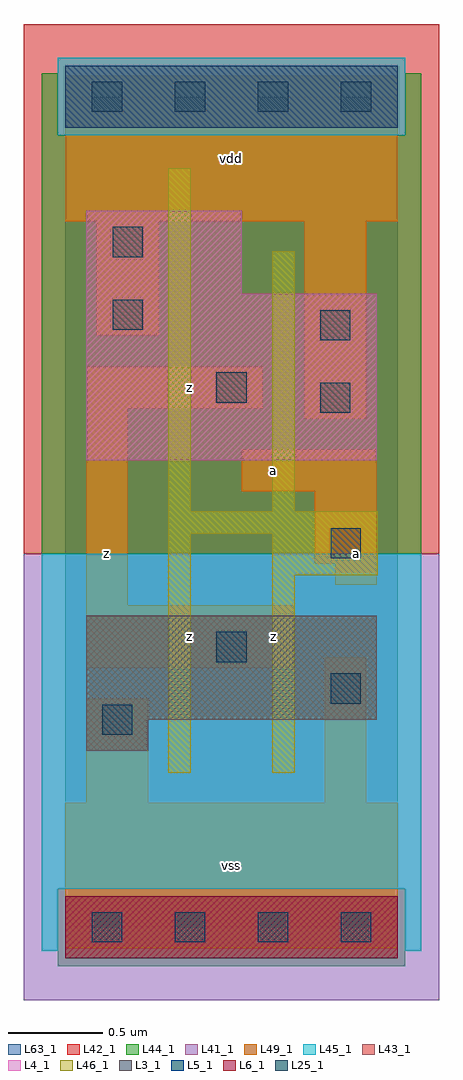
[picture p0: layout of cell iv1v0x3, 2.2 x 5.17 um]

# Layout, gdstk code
import gdstk
lib = gdstk.Library(unit=1e-6, precision=1e-09)
def R(c, l, rs):  # rectangles x0, y0, x1, y1
    for r in rs: c.add(gdstk.rectangle(r[:2], r[2:], *l))
def A(c, l, x, y, w, h, nx, ny, dx, dy):  # array of equal rectangles
    R(c, l, [(x+i*dx, y+j*dy, x+i*dx+w, y+j*dy+h) for i in range(nx) for j in range(ny)])
L3_1 = (3, 1)
L4_1 = (4, 1)
L5_1 = (5, 1)
L6_1 = (6, 1)
L25_1 = (25, 1)
L41_1 = (41, 1)
L42_1 = (42, 1)
L43_1 = (43, 1)
L44_1 = (44, 1)
L45_1 = (45, 1)
L46_1 = (46, 1)
L49_1 = (49, 1)
L63_1 = (63, 1)

iv1v0x3 = lib.new_cell('iv1v0x3')
R(iv1v0x3, L3_1, [(0.11,0.935,0.44,1.1), (0.11,1.1,1.65,1.65)])
R(iv1v0x3, L4_1, [(0.11,2.475,1.65,3.355), (0.11,3.355,0.935,3.795)])
R(iv1v0x3, L5_1, [(0,4.235,1.76,4.565)])
R(iv1v0x3, L6_1, [(0,-0.165,1.76,0.165)])
A(iv1v0x3, L25_1, 0.14, -0.08, 0.16, 0.16, 4, 2, 0.44, 4.4)
R(iv1v0x3, L25_1, [(0.195,1.02,0.355,1.18), (1.405,1.185,1.565,1.345), (0.8,1.405,0.96,1.565), (1.405,1.955,1.565,2.115), (1.35,2.725,1.51,2.885), (0.8,2.78,0.96,2.94), (1.35,3.11,1.51,3.27), (0.25,3.165,0.41,3.325), (0.25,3.55,0.41,3.71)])
R(iv1v0x3, L41_1, [(-0.22,-0.385,1.98,1.98)])
R(iv1v0x3, L42_1, [(-0.22,1.98,1.98,4.785)])
R(iv1v0x3, L43_1, [(0,-0.165,1.76,0.165), (0.11,0.935,0.44,1.1), (0.11,1.1,1.65,1.65), (0.11,2.475,1.65,3.355), (0.11,3.355,0.935,3.795), (0,4.235,1.76,4.565)])
R(iv1v0x3, L44_1, [(-0.04,-0.205,1.8,0.205), (-0.125,1.98,1.885,4.195), (-0.125,4.195,-0.04,4.525), (1.8,4.195,1.885,4.525)])
R(iv1v0x3, L45_1, [(-0.125,-0.125,-0.04,0.205), (1.8,-0.125,1.885,0.205), (-0.125,0.205,1.885,1.98), (-0.04,4.195,1.8,4.605)])
R(iv1v0x3, L46_1, [(0.545,0.82,0.665,2.085), (1.095,0.82,1.215,1.865), (1.095,1.865,1.655,2.085), (0.545,2.085,1.655,2.205), (0.545,2.205,0.665,4.02), (1.095,2.205,1.215,3.58)])
R(iv1v0x3, L49_1, [(0,-0.11,1.76,0.66), (0.11,0.66,0.44,1.21), (1.375,0.66,1.595,1.43), (0.11,1.375,1.21,1.705), (0.11,1.705,0.33,2.75), (1.43,1.815,1.65,1.925), (1.32,1.925,1.65,2.31), (0.935,2.31,1.65,2.53), (1.265,2.695,1.595,3.74), (0.11,2.75,1.045,2.97), (0.165,3.135,0.495,3.74), (0,3.74,1.76,4.51)])
R(iv1v0x3, L63_1, [(0,0,1.76,4.4)])
iv1v0x3.add(gdstk.Label('z', (0.22,1.98), layer=49, texttype=1))
iv1v0x3.add(gdstk.Label('z', (0.66,1.54), layer=49, texttype=1))
iv1v0x3.add(gdstk.Label('z', (0.66,2.86), layer=49, texttype=1))
iv1v0x3.add(gdstk.Label('vss', (0.88,0.33), layer=49, texttype=1))
iv1v0x3.add(gdstk.Label('z', (1.1,1.54), layer=49, texttype=1))
iv1v0x3.add(gdstk.Label('a', (1.1,2.42), layer=49, texttype=1))
iv1v0x3.add(gdstk.Label('vdd', (0.88,4.07), layer=49, texttype=1))
iv1v0x3.add(gdstk.Label('a', (1.54,1.98), layer=49, texttype=1))

lib.write_gds('iv1v0x3.gds')
